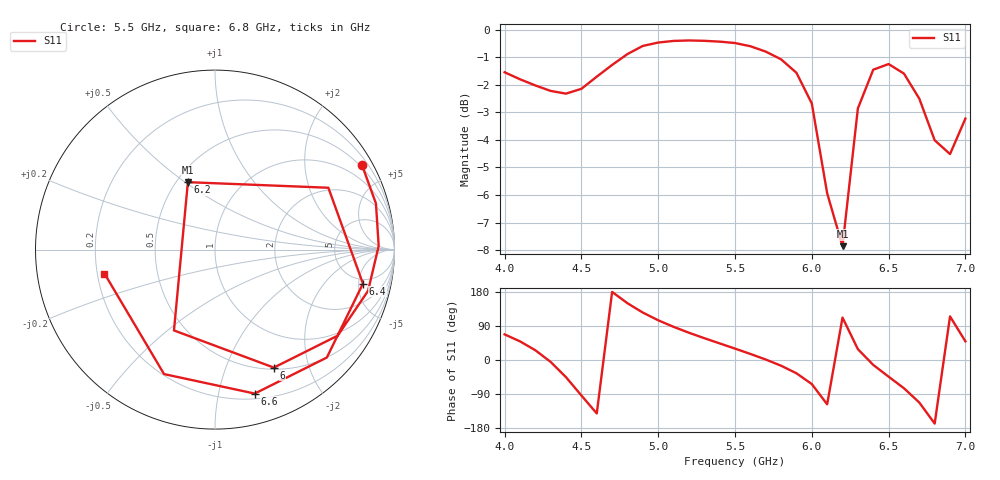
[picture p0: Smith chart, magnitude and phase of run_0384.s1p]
! Touchstone file exported from HFSS 2024.2.0
!  File:  C:/Users/wsak9/Desktop/Sim Fast/Widenad Patch/WP_AI_V1_sweep.aedt
!  Generated:  07:27:04 AM Oct 14, 2026
!  Design:  A1_model
!  Project:  WP_AI_V1_sweep
!  Setup:  Setup1
!  Solution:  Sweep
! Variables:
!  Air_gap = 3.29mm
!  Curve_Amp1 = 2.98
!  Curve_len1 = 1
!  Curve_pos = 9.71mm
!  Extra = 7.3mm
!  H_sub = 0.79mm
!  L_Patch = 15.42mm
!  L_Patch1 = 20.92mm
!  Sx = 0.63mm
!  Sy = 0.91mm
!  WS = 0.47mm
!  W_Patch = 15.33mm
!  W_Patch1 = 13.62mm
!Data is not renormalized
# GHz S MA
! Terminal data exported
! Port[1] = 1
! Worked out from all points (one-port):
!   31 points, 4 GHz to 7 GHz, reference per port
!   lowest |S11| = -7.9 dB at 6.2 GHz (marker M1), VSWR 2.36
!   |S11| at or under -10 dB: nowhere
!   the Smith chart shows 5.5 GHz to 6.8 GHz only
!   S11 on the Smith chart (normalised r, x): 5.5 GHz: 0.41, +3.68; 6 GHz: 0.52, -1.49; 6.2 GHz: 0.57, +0.51; 6.4 GHz: 4.26, -5.67; 6.6 GHz: 0.25, -1.28; 6.8 GHz: 0.23, -0.10
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4  0.8368 67.6
4.1  0.8127 49.2
4.2  0.792 25.8
4.3  0.774 -5.1
4.4  0.7653 -45.5
4.5  0.781 -93.6
4.6  0.8215 -141.1
4.7  0.8627 179.7
4.8  0.9029 149.8
4.9  0.934 125.1
5  0.9472 104.8
5.2  0.9555 72.0
5.4  0.9508 43.8
5.5  0.9453 30.1
5.7  0.9121 1.3
5.8  0.8832 -15.1
5.9  0.8349 -35.1
6  0.7346 -63.5
6.1  0.505 -116.9
6.2  0.4049 111.9
6.3  0.7195 28.6
6.4  0.8457 -12.9
6.5  0.866 -44.0
6.6  0.8321 -74.6
6.7  0.7494 -112.3
6.8  0.63 -167.8
6.9  0.5947 115.0
7  0.6896 49.3
